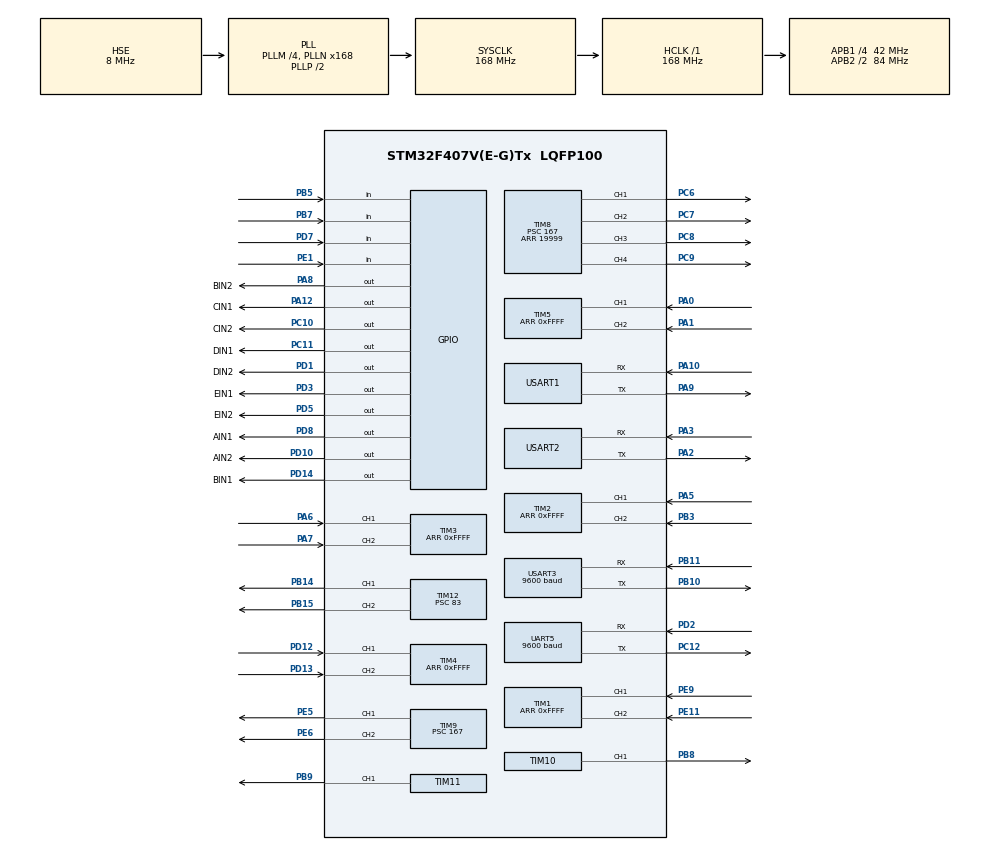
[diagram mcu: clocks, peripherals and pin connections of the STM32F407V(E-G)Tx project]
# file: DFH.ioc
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Dma.Request0=USART1_RX
Dma.Request1=USART1_TX
Dma.Request2=USART2_RX
Dma.Request3=USART2_TX
Dma.Request4=USART3_RX
Dma.Request5=USART3_TX
Dma.Request6=UART5_RX
Dma.Request7=UART5_TX
Dma.UART5_RX.6.Direction=DMA_PERIPH_TO_MEMORY
Dma.UART5_RX.6.FIFOMode=DMA_FIFOMODE_DISABLE
Dma.UART5_RX.6.Instance=DMA1_Stream0
Dma.UART5_RX.6.MemDataAlignment=DMA_MDATAALIGN_BYTE
Dma.UART5_RX.6.MemInc=DMA_MINC_ENABLE
Dma.UART5_RX.6.Mode=DMA_NORMAL
Dma.UART5_RX.6.PeriphDataAlignment=DMA_PDATAALIGN_BYTE
Dma.UART5_RX.6.PeriphInc=DMA_PINC_DISABLE
Dma.UART5_RX.6.Priority=DMA_PRIORITY_VERY_HIGH
Dma.UART5_TX.7.Direction=DMA_MEMORY_TO_PERIPH
Dma.UART5_TX.7.FIFOMode=DMA_FIFOMODE_DISABLE
Dma.UART5_TX.7.Instance=DMA1_Stream7
Dma.UART5_TX.7.MemDataAlignment=DMA_MDATAALIGN_BYTE
Dma.UART5_TX.7.MemInc=DMA_MINC_ENABLE
Dma.UART5_TX.7.Mode=DMA_NORMAL
Dma.UART5_TX.7.PeriphDataAlignment=DMA_PDATAALIGN_BYTE
Dma.UART5_TX.7.PeriphInc=DMA_PINC_DISABLE
Dma.UART5_TX.7.Priority=DMA_PRIORITY_VERY_HIGH
Dma.USART1_RX.0.Direction=DMA_PERIPH_TO_MEMORY
Dma.USART1_RX.0.FIFOMode=DMA_FIFOMODE_DISABLE
Dma.USART1_RX.0.Instance=DMA2_Stream2
Dma.USART1_RX.0.MemDataAlignment=DMA_MDATAALIGN_BYTE
Dma.USART1_RX.0.MemInc=DMA_MINC_ENABLE
Dma.USART1_RX.0.Mode=DMA_NORMAL
Dma.USART1_RX.0.PeriphDataAlignment=DMA_PDATAALIGN_BYTE
Dma.USART1_RX.0.PeriphInc=DMA_PINC_DISABLE
Dma.USART1_RX.0.Priority=DMA_PRIORITY_VERY_HIGH
Dma.USART1_TX.1.Direction=DMA_MEMORY_TO_PERIPH
Dma.USART1_TX.1.FIFOMode=DMA_FIFOMODE_DISABLE
Dma.USART1_TX.1.Instance=DMA2_Stream7
Dma.USART1_TX.1.MemDataAlignment=DMA_MDATAALIGN_BYTE
Dma.USART1_TX.1.MemInc=DMA_MINC_ENABLE
Dma.USART1_TX.1.Mode=DMA_NORMAL
Dma.USART1_TX.1.PeriphDataAlignment=DMA_PDATAALIGN_BYTE
Dma.USART1_TX.1.PeriphInc=DMA_PINC_DISABLE
Dma.USART1_TX.1.Priority=DMA_PRIORITY_VERY_HIGH
Dma.USART2_RX.2.Direction=DMA_PERIPH_TO_MEMORY
Dma.USART2_RX.2.FIFOMode=DMA_FIFOMODE_DISABLE
Dma.USART2_RX.2.Instance=DMA1_Stream5
Dma.USART2_RX.2.MemDataAlignment=DMA_MDATAALIGN_BYTE
Dma.USART2_RX.2.MemInc=DMA_MINC_ENABLE
Dma.USART2_RX.2.Mode=DMA_NORMAL
Dma.USART2_RX.2.PeriphDataAlignment=DMA_PDATAALIGN_BYTE
Dma.USART2_RX.2.PeriphInc=DMA_PINC_DISABLE
Dma.USART2_RX.2.Priority=DMA_PRIORITY_VERY_HIGH
Dma.USART2_TX.3.Direction=DMA_MEMORY_TO_PERIPH
Dma.USART2_TX.3.FIFOMode=DMA_FIFOMODE_DISABLE
Dma.USART2_TX.3.Instance=DMA1_Stream6
Dma.USART2_TX.3.MemDataAlignment=DMA_MDATAALIGN_BYTE
Dma.USART2_TX.3.MemInc=DMA_MINC_ENABLE
Dma.USART2_TX.3.Mode=DMA_NORMAL
Dma.USART2_TX.3.PeriphDataAlignment=DMA_PDATAALIGN_BYTE
Dma.USART2_TX.3.PeriphInc=DMA_PINC_DISABLE
Dma.USART2_TX.3.Priority=DMA_PRIORITY_VERY_HIGH
Dma.USART3_RX.4.Direction=DMA_PERIPH_TO_MEMORY
Dma.USART3_RX.4.FIFOMode=DMA_FIFOMODE_DISABLE
Dma.USART3_RX.4.Instance=DMA1_Stream1
Dma.USART3_RX.4.MemDataAlignment=DMA_MDATAALIGN_BYTE
Dma.USART3_RX.4.MemInc=DMA_MINC_ENABLE
Dma.USART3_RX.4.Mode=DMA_NORMAL
Dma.USART3_RX.4.PeriphDataAlignment=DMA_PDATAALIGN_BYTE
Dma.USART3_RX.4.PeriphInc=DMA_PINC_DISABLE
Dma.USART3_RX.4.Priority=DMA_PRIORITY_VERY_HIGH
Dma.USART3_TX.5.Direction=DMA_MEMORY_TO_PERIPH
Dma.USART3_TX.5.FIFOMode=DMA_FIFOMODE_DISABLE
Dma.USART3_TX.5.Instance=DMA1_Stream3
Dma.USART3_TX.5.MemDataAlignment=DMA_MDATAALIGN_BYTE
Dma.USART3_TX.5.MemInc=DMA_MINC_ENABLE
Dma.USART3_TX.5.Mode=DMA_NORMAL
Dma.USART3_TX.5.PeriphDataAlignment=DMA_PDATAALIGN_BYTE
Dma.USART3_TX.5.PeriphInc=DMA_PINC_DISABLE
Dma.USART3_TX.5.Priority=DMA_PRIORITY_VERY_HIGH
FREERTOS.Tasks01=defaultTask,0,128,StartDefaultTask,Default,NULL
Mcu.Family=STM32F4
Mcu.Name=STM32F407V(E-G)Tx
Mcu.Package=LQFP100
NVIC.DMA1_Stream0_IRQn=true\:5\:0\:false\:false\:true\:true\:false\:true
NVIC.DMA1_Stream1_IRQn=true\:5\:0\:false\:false\:true\:true\:false\:true
NVIC.DMA1_Stream3_IRQn=true\:5\:0\:false\:false\:true\:true\:false\:true
NVIC.DMA1_Stream5_IRQn=true\:5\:0\:false\:false\:true\:true\:false\:true
NVIC.DMA1_Stream6_IRQn=true\:5\:0\:false\:false\:true\:true\:false\:true
NVIC.DMA1_Stream7_IRQn=true\:5\:0\:false\:false\:true\:true\:false\:true
NVIC.DMA2_Stream2_IRQn=true\:5\:0\:false\:false\:true\:true\:false\:true
NVIC.DMA2_Stream7_IRQn=true\:5\:0\:false\:false\:true\:true\:false\:true
NVIC.PriorityGroup=NVIC_PRIORITYGROUP_4
NVIC.TIM6_DAC_IRQn=true\:5\:0\:false\:false\:true\:true\:true\:true
NVIC.UART5_IRQn=true\:5\:0\:false\:false\:true\:true\:true\:true
NVIC.USART1_IRQn=true\:5\:0\:false\:false\:true\:true\:true\:true
NVIC.USART2_IRQn=true\:5\:0\:false\:false\:true\:true\:true\:true
NVIC.USART3_IRQn=true\:5\:0\:false\:false\:true\:true\:true\:true
PA0-WKUP.Signal=S_TIM5_CH1
PA1.Signal=S_TIM5_CH2
PA10.Mode=Asynchronous
PA10.Signal=USART1_RX
PA12.GPIO_Label=CIN1
PA12.Signal=GPIO_Output
PA13.Mode=Serial_Wire
PA13.Signal=SYS_JTMS-SWDIO
PA14.Mode=Serial_Wire
PA14.Signal=SYS_JTCK-SWCLK
PA2.Mode=Asynchronous
PA2.Signal=USART2_TX
PA3.Mode=Asynchronous
PA3.Signal=USART2_RX
PA5.Signal=S_TIM2_CH1_ETR
PA6.Signal=S_TIM3_CH1
PA7.Signal=S_TIM3_CH2
PA8.GPIO_Label=BIN2
PA8.Signal=GPIO_Output
PA9.Mode=Asynchronous
PA9.Signal=USART1_TX
PB10.Mode=Asynchronous
PB10.Signal=USART3_TX
PB11.Mode=Asynchronous
PB11.Signal=USART3_RX
PB14.Signal=S_TIM12_CH1
PB15.Signal=S_TIM12_CH2
PB3.Signal=S_TIM2_CH2
PB5.Signal=GPIO_Input
PB7.Signal=GPIO_Input
PB8.Signal=S_TIM10_CH1
PB9.Signal=S_TIM11_CH1
PC10.GPIO_Label=CIN2
PC10.Signal=GPIO_Output
PC11.GPIO_Label=DIN1
PC11.Signal=GPIO_Output
PC12.Mode=Asynchronous
PC12.Signal=UART5_TX
PC6.Signal=S_TIM8_CH1
PC7.Signal=S_TIM8_CH2
PC8.Signal=S_TIM8_CH3
PC9.Signal=S_TIM8_CH4
PD1.GPIO_Label=DIN2
PD1.Signal=GPIO_Output
PD10.GPIO_Label=AIN2
PD10.Signal=GPIO_Output
PD12.Signal=S_TIM4_CH1
PD13.Signal=S_TIM4_CH2
PD14.GPIO_Label=BIN1
PD14.Signal=GPIO_Output
PD2.Mode=Asynchronous
PD2.Signal=UART5_RX
PD3.GPIO_Label=EIN1
PD3.Signal=GPIO_Output
PD5.GPIO_Label=EIN2
PD5.Signal=GPIO_Output
PD7.Signal=GPIO_Input
PD8.GPIO_Label=AIN1
PD8.Signal=GPIO_Output
PE1.Signal=GPIO_Input
PE11.Signal=S_TIM1_CH2
PE5.Signal=S_TIM9_CH1
PE6.Signal=S_TIM9_CH2
PE9.Signal=S_TIM1_CH1
PH0-OSC_IN.Mode=HSE-External-Oscillator
PH0-OSC_IN.Signal=RCC_OSC_IN
PH1-OSC_OUT.Mode=HSE-External-Oscillator
PH1-OSC_OUT.Signal=RCC_OSC_OUT
ProjectManager.HeapSize=0x200
ProjectManager.StackSize=0x400
ProjectManager.TargetToolchain=MDK-ARM V5.27
RCC.48MHZClocksFreq_Value=84000000
RCC.AHBFreq_Value=168000000
RCC.APB1CLKDivider=RCC_HCLK_DIV4
RCC.APB1Freq_Value=42000000
RCC.APB1TimFreq_Value=84000000
RCC.APB2CLKDivider=RCC_HCLK_DIV2
RCC.APB2Freq_Value=84000000
RCC.APB2TimFreq_Value=168000000
RCC.CortexFreq_Value=168000000
RCC.HCLKFreq_Value=168000000
RCC.HSE_VALUE=8000000
RCC.HSI_VALUE=16000000
RCC.LSE_VALUE=32768
RCC.PLLM=4
RCC.PLLN=168
RCC.PLLSourceVirtual=RCC_PLLSOURCE_HSE
RCC.SYSCLKFreq_VALUE=168000000
RCC.SYSCLKSource=RCC_SYSCLKSOURCE_PLLCLK
RCC.VCOOutputFreq_Value=336000000
SH.S_TIM10_CH1.0=TIM10_CH1,PWM Generation1 CH1
SH.S_TIM11_CH1.0=TIM11_CH1,PWM Generation1 CH1
SH.S_TIM12_CH1.0=TIM12_CH1,PWM Generation1 CH1
SH.S_TIM12_CH2.0=TIM12_CH2,PWM Generation2 CH2
SH.S_TIM1_CH1.0=TIM1_CH1,Encoder_Interface
SH.S_TIM1_CH2.0=TIM1_CH2,Encoder_Interface
SH.S_TIM2_CH1_ETR.0=TIM2_CH1,Encoder_Interface
SH.S_TIM2_CH2.0=TIM2_CH2,Encoder_Interface
SH.S_TIM3_CH1.0=TIM3_CH1,Encoder_Interface
SH.S_TIM3_CH2.0=TIM3_CH2,Encoder_Interface
SH.S_TIM4_CH1.0=TIM4_CH1,Encoder_Interface
SH.S_TIM4_CH2.0=TIM4_CH2,Encoder_Interface
SH.S_TIM5_CH1.0=TIM5_CH1,Encoder_Interface
SH.S_TIM5_CH2.0=TIM5_CH2,Encoder_Interface
SH.S_TIM8_CH1.0=TIM8_CH1,PWM Generation1 CH1
SH.S_TIM8_CH2.0=TIM8_CH2,PWM Generation2 CH2
SH.S_TIM8_CH3.0=TIM8_CH3,PWM Generation3 CH3
SH.S_TIM8_CH4.0=TIM8_CH4,PWM Generation4 CH4
SH.S_TIM9_CH1.0=TIM9_CH1,PWM Generation1 CH1
SH.S_TIM9_CH2.0=TIM9_CH2,PWM Generation2 CH2
TIM1.AutoReloadPreload=TIM_AUTORELOAD_PRELOAD_ENABLE
TIM1.Period=0xFFFF
TIM10.AutoReloadPreload=TIM_AUTORELOAD_PRELOAD_ENABLE
TIM10.Channel=TIM_CHANNEL_1
TIM10.Period=1999
TIM10.Prescaler=167
TIM10.Pulse=200
TIM11.AutoReloadPreload=TIM_AUTORELOAD_PRELOAD_ENABLE
TIM11.Channel=TIM_CHANNEL_1
TIM11.Period=19999
TIM11.Prescaler=167
TIM11.Pulse=2000
TIM12.AutoReloadPreload=TIM_AUTORELOAD_PRELOAD_ENABLE
TIM12.Channel-PWM\ Generation1\ CH1=TIM_CHANNEL_1
TIM12.Channel-PWM\ Generation2\ CH2=TIM_CHANNEL_2
TIM12.Period=1999
TIM12.Prescaler=83
TIM12.Pulse-PWM\ Generation1\ CH1=200
TIM12.Pulse-PWM\ Generation2\ CH2=200
TIM2.AutoReloadPreload=TIM_AUTORELOAD_PRELOAD_ENABLE
TIM2.Period=0xFFFF
TIM3.AutoReloadPreload=TIM_AUTORELOAD_PRELOAD_ENABLE
TIM3.Period=0xFFFF
TIM4.AutoReloadPreload=TIM_AUTORELOAD_PRELOAD_ENABLE
TIM4.Period=0xFFFF
TIM5.AutoReloadPreload=TIM_AUTORELOAD_PRELOAD_ENABLE
TIM5.Period=0xFFFF
TIM6.AutoReloadPreload=TIM_AUTORELOAD_PRELOAD_ENABLE
TIM6.Period=4999
TIM6.Prescaler=83
TIM8.AutoReloadPreload=TIM_AUTORELOAD_PRELOAD_ENABLE
TIM8.Channel-PWM\ Generation1\ CH1=TIM_CHANNEL_1
TIM8.Channel-PWM\ Generation2\ CH2=TIM_CHANNEL_2
TIM8.Channel-PWM\ Generation3\ CH3=TIM_CHANNEL_3
TIM8.Channel-PWM\ Generation4\ CH4=TIM_CHANNEL_4
TIM8.Period=19999
TIM8.Prescaler=167
TIM8.Pulse-PWM\ Generation1\ CH1=2000
TIM8.Pulse-PWM\ Generation2\ CH2=500
TIM8.Pulse-PWM\ Generation3\ CH3=2000
TIM8.Pulse-PWM\ Generation4\ CH4=2000
TIM9.AutoReloadPreload=TIM_AUTORELOAD_PRELOAD_ENABLE
TIM9.Channel-PWM\ Generation1\ CH1=TIM_CHANNEL_1
TIM9.Channel-PWM\ Generation2\ CH2=TIM_CHANNEL_2
TIM9.Period=1999
TIM9.Prescaler=167
TIM9.Pulse-PWM\ Generation1\ CH1=200
TIM9.Pulse-PWM\ Generation2\ CH2=200
UART5.BaudRate=9600
UART5.VirtualMode=Asynchronous
USART1.VirtualMode=VM_ASYNC
USART2.VirtualMode=VM_ASYNC
USART3.BaudRate=9600
USART3.VirtualMode=VM_ASYNC
VP_FREERTOS_VS_CMSIS_V1.Mode=CMSIS_V1
VP_TIM10_VS_ClockSourceINT.Mode=Enable_Timer
VP_TIM11_VS_ClockSourceINT.Mode=Enable_Timer
VP_TIM12_VS_ClockSourceINT.Mode=Internal
VP_TIM6_VS_ClockSourceINT.Mode=Enable_Timer
VP_TIM8_VS_ClockSourceINT.Mode=Internal
VP_TIM9_VS_ClockSourceINT.Mode=Internal
board=custom

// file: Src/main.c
/* USER CODE BEGIN Header */
/**
  ******************************************************************************
  * @file           : main.c
  * @brief          : Main program body
  ******************************************************************************
  * @attention
  *
  * <h2><center>&copy; Copyright (c) 2020 STMicroelectronics.
  * All rights reserved.</center></h2>
  *
  * This software component is licensed by ST under Ultimate Liberty license
  * SLA0044, the "License"; You may not use this file except in compliance with
  * the License. You may obtain a copy of the License at:
  *                             www.st.com/SLA0044
  *
  ******************************************************************************
  */
/* USER CODE END Header */

#include "main.h"
#include "cmsis_os.h"
#include "dma.h"
#include "tim.h"
#include "usart.h"
#include "gpio.h"

/* USER CODE BEGIN Includes */
#include "bsp_delay.h"
#include "bsp_usart.h"
#include "bsp_motor.h"
#include "math_calc.h"
#include "pid.h"
#include "chassis_task.h"
/* USER CODE END Includes */

void SystemClock_Config(void);
void MX_FREERTOS_Init(void);

int main(void)
{

  /* MCU Configuration--------------------------------------------------------*/

  /* Reset of all peripherals, Initializes the Flash interface and the Systick. */
  HAL_Init();

  /* Configure the system clock */
  SystemClock_Config();

  /* Initialize all configured peripherals */
  MX_GPIO_Init();
  MX_TIM1_Init();
  MX_TIM2_Init();
  MX_TIM3_Init();
  MX_TIM4_Init();
  MX_TIM5_Init();
  MX_TIM6_Init();
  MX_TIM8_Init();
  MX_TIM9_Init();
  MX_TIM10_Init();
  MX_TIM11_Init();
  MX_TIM12_Init();
  MX_DMA_Init();
  MX_USART1_UART_Init();
  MX_USART2_UART_Init();
  MX_USART3_UART_Init();
  MX_UART5_Init();
  /* USER CODE BEGIN 2 */
	delay_init();
	WT101_init();
	TFmini_init();
	Vision_init();
  /* USER CODE END 2 */

  /* Call init function for freertos objects (in freertos.c) */
  MX_FREERTOS_Init();

  /* Start scheduler */
  osKernelStart();

  /* We should never get here as control is now taken by the scheduler */

  /* Infinite loop */
  while (1)
  {

  }
}

void SystemClock_Config(void)
{
  RCC_OscInitTypeDef RCC_OscInitStruct = {0};
  RCC_ClkInitTypeDef RCC_ClkInitStruct = {0};

  /** Configure the main internal regulator output voltage
  */
  __HAL_RCC_PWR_CLK_ENABLE();
  __HAL_PWR_VOLTAGESCALING_CONFIG(PWR_REGULATOR_VOLTAGE_SCALE1);
  /** Initializes the CPU, AHB and APB busses clocks
  */
  RCC_OscInitStruct.OscillatorType = RCC_OSCILLATORTYPE_HSE;
  RCC_OscInitStruct.HSEState = RCC_HSE_ON;
  RCC_OscInitStruct.PLL.PLLState = RCC_PLL_ON;
  RCC_OscInitStruct.PLL.PLLSource = RCC_PLLSOURCE_HSE;
  RCC_OscInitStruct.PLL.PLLM = 4;
  RCC_OscInitStruct.PLL.PLLN = 168;
  RCC_OscInitStruct.PLL.PLLP = RCC_PLLP_DIV2;
  RCC_OscInitStruct.PLL.PLLQ = 4;
  if (HAL_RCC_OscConfig(&RCC_OscInitStruct) != HAL_OK)
  {
    Error_Handler();
  }
  /** Initializes the CPU, AHB and APB busses clocks
  */
  RCC_ClkInitStruct.ClockType = RCC_CLOCKTYPE_HCLK|RCC_CLOCKTYPE_SYSCLK
                              |RCC_CLOCKTYPE_PCLK1|RCC_CLOCKTYPE_PCLK2;
  RCC_ClkInitStruct.SYSCLKSource = RCC_SYSCLKSOURCE_PLLCLK;
  RCC_ClkInitStruct.AHBCLKDivider = RCC_SYSCLK_DIV1;
  RCC_ClkInitStruct.APB1CLKDivider = RCC_HCLK_DIV4;
  RCC_ClkInitStruct.APB2CLKDivider = RCC_HCLK_DIV2;

  if (HAL_RCC_ClockConfig(&RCC_ClkInitStruct, FLASH_LATENCY_5) != HAL_OK)
  {
    Error_Handler();
  }
}

void Error_Handler(void)
{
}

/************************ (C) COPYRIGHT STMicroelectronics *****END OF FILE****/

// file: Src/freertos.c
/* USER CODE BEGIN Header */
/**
  ******************************************************************************
  * File Name          : freertos.c
  * Description        : Code for freertos applications
  ******************************************************************************
  * @attention
  *
  * <h2><center>&copy; Copyright (c) 2020 STMicroelectronics.
  * All rights reserved.</center></h2>
  *
  * This software component is licensed by ST under Ultimate Liberty license
  * SLA0044, the "License"; You may not use this file except in compliance with
  * the License. You may obtain a copy of the License at:
  *                             www.st.com/SLA0044
  *
  ******************************************************************************
  */
/* USER CODE END Header */

#include "FreeRTOS.h"
#include "task.h"
#include "main.h"
#include "cmsis_os.h"

/* USER CODE BEGIN Variables */
osThreadId chassisTaskHandle;
osThreadId laserTaskHandle;
osThreadId planTaskHandle;
osThreadId servoTaskHandle;
/* USER CODE END Variables */
osThreadId defaultTaskHandle;

/* USER CODE BEGIN FunctionPrototypes */
void ChassisTask(void const * argument);
void LaserTask(void const * argument);
void PlanTask(void const * argument);
void ServoTask(void const * argument);
/* USER CODE END FunctionPrototypes */

void StartDefaultTask(void const * argument);

void MX_FREERTOS_Init(void); /* (MISRA C 2004 rule 8.1) */

/* GetIdleTaskMemory prototype (linked to static allocation support) */
void vApplicationGetIdleTaskMemory( StaticTask_t **ppxIdleTaskTCBBuffer, StackType_t **ppxIdleTaskStackBuffer, uint32_t *pulIdleTaskStackSize );

/* USER CODE BEGIN GET_IDLE_TASK_MEMORY */
static StaticTask_t xIdleTaskTCBBuffer;
static StackType_t xIdleStack[configMINIMAL_STACK_SIZE];

void vApplicationGetIdleTaskMemory( StaticTask_t **ppxIdleTaskTCBBuffer, StackType_t **ppxIdleTaskStackBuffer, uint32_t *pulIdleTaskStackSize )
{
  *ppxIdleTaskTCBBuffer = &xIdleTaskTCBBuffer;
  *ppxIdleTaskStackBuffer = &xIdleStack[0];
  *pulIdleTaskStackSize = configMINIMAL_STACK_SIZE;
  /* place for user code */
}
/* USER CODE END GET_IDLE_TASK_MEMORY */

void MX_FREERTOS_Init(void) {

  /* Create the thread(s) */
  /* definition and creation of defaultTask */
  osThreadDef(defaultTask, StartDefaultTask, osPriorityNormal, 0, 128);
  defaultTaskHandle = osThreadCreate(osThread(defaultTask), NULL);

  /* USER CODE BEGIN RTOS_THREADS */
  /* add threads, ... */
	osThreadDef(chassisTask, ChassisTask, osPriorityNormal, 0, 256);
  chassisTaskHandle = osThreadCreate(osThread(chassisTask), NULL);

	osThreadDef(laserTask, LaserTask, osPriorityNormal, 0, 256);
  laserTaskHandle = osThreadCreate(osThread(laserTask), NULL);

	osThreadDef(planTask, PlanTask, osPriorityNormal, 0, 256);
  planTaskHandle = osThreadCreate(osThread(planTask), NULL);

	osThreadDef(servoTask, ServoTask, osPriorityNormal, 0, 128);
  servoTaskHandle = osThreadCreate(osThread(servoTask), NULL);

	taskEXIT_CRITICAL();
  /* USER CODE END RTOS_THREADS */

}

void StartDefaultTask(void const * argument)
{
  for(;;)
  {
    osDelay(1);
  }
}

/************************ (C) COPYRIGHT STMicroelectronics *****END OF FILE****/
